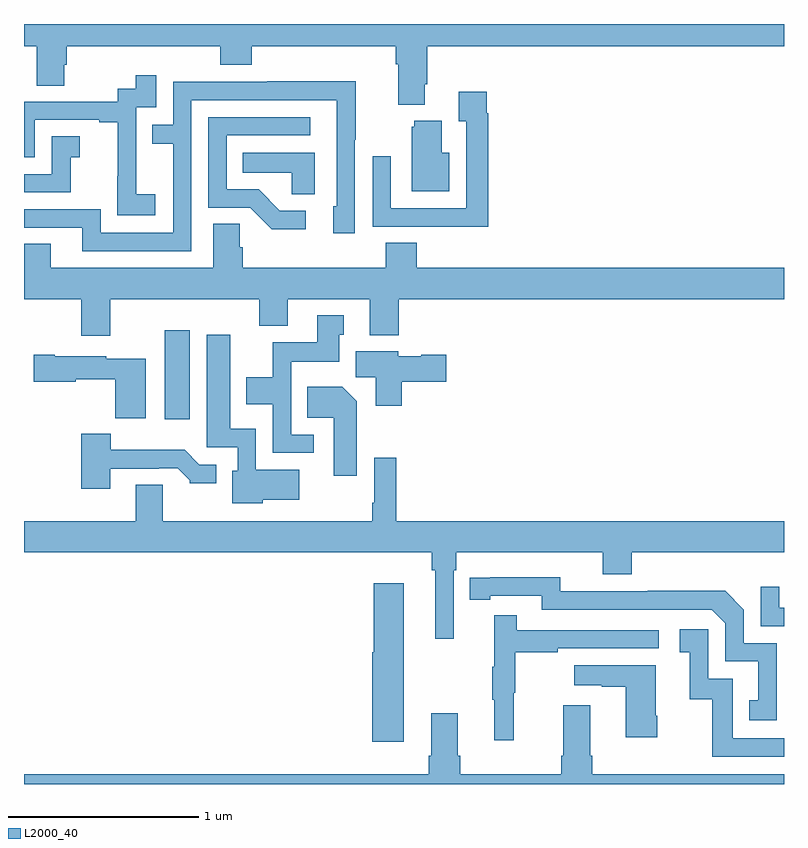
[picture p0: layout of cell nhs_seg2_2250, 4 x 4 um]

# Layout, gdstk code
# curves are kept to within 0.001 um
import gdstk
lib = gdstk.Library(unit=1e-6, precision=1e-09)
def R(c, l, rs):  # rectangles x0, y0, x1, y1
    for r in rs: c.add(gdstk.rectangle(r[:2], r[2:], *l))
def P(c, l, *ps):  # polygons
    for p in ps: c.add(gdstk.Polygon(p, *l))
L2000_40 = (2000, 40)

nhs_seg2_2250 = lib.new_cell('nhs_seg2_2250')
R(nhs_seg2_2250, L2000_40, [(229.742,597.72,229.873,598.189)])
P(nhs_seg2_2250, L2000_40, [(231.109,599.482),(231.122,599.482),(231.122,599.684),(233,599.684),(233,599.8),(229,599.8),(229,599.684),(229.066,599.684),(229.066,599.476),(229.213,599.476),(229.213,599.586),(229.226,599.586),(229.226,599.684),(230.033,599.684),(230.033,599.585),(230.198,599.585),(230.198,599.684),(230.957,599.684),(230.957,599.588),(230.969,599.588),(230.969,599.375),(231.109,599.375)],
  [(229.69,598.903),(229.592,598.903),(229.592,599.132),(229.59,599.132),(229.59,599.361),(229.695,599.361),(229.695,599.53),(229.587,599.53),(229.587,599.46),(229.494,599.46),(229.494,599.391),(229,599.391),(229,599.1),(229.056,599.1),(229.056,599.295),(229.397,599.295),(229.397,599.283),(229.493,599.283),(229.493,598.999),(229.492,598.999),(229.492,598.793),(229.69,598.793)],
  [(229.881,599.4),(230.646,599.4),(230.646,598.842),(230.627,598.842),(230.627,598.698),(230.742,598.698),(230.742,599.191),(230.745,599.191),(230.745,599.498),(230.281,599.498),(230.281,599.496),(229.785,599.496),(229.785,599.271),(229.675,599.271),(229.675,599.17),(229.785,599.17),(229.785,598.701),(229.404,598.701),(229.404,598.824),(229,598.824),(229,598.728),(229.307,598.728),(229.307,598.605),(229.881,598.605)],
  [(231.443,599.33),(231.436,599.33),(231.436,599.443),(231.287,599.443),(231.287,599.287),(231.327,599.287),(231.327,598.83),(230.931,598.83),(230.931,599.104),(230.835,599.104),(230.835,598.734),(231.151,598.734),(231.151,598.733),(231.443,598.733)],
  [(230.482,598.818),(230.347,598.818),(230.236,598.929),(230.067,598.929),(230.067,599.214),(230.506,599.214),(230.506,599.31),(229.971,599.31),(229.971,598.833),(230.19,598.833),(230.303,598.721),(230.482,598.721)],
  [(231.238,599.122),(231.199,599.122),(231.199,599.29),(231.053,599.29),(231.053,599.259),(231.041,599.259),(231.041,598.919),(231.238,598.919)],
  [(229.245,599.099),(229.294,599.099),(229.294,599.209),(229.146,599.209),(229.146,599.01),(229,599.01),(229,598.914),(229.245,598.914)],
  [(230.53,599.122),(230.152,599.122),(230.152,599.018),(230.409,599.018),(230.409,598.903),(230.53,598.903)],
  [(229.453,598.352),(230.237,598.352),(230.237,598.211),(230.389,598.211),(230.389,598.352),(230.819,598.352),(230.819,598.163),(230.972,598.163),(230.972,598.352),(233,598.352),(233,598.516),(231.068,598.516),(231.068,598.649),(230.903,598.649),(230.903,598.516),(230.15,598.516),(230.15,598.625),(230.136,598.625),(230.136,598.748),(229.997,598.748),(229.997,598.516),(229.141,598.516),(229.141,598.643),(229.002,598.643),(229.002,598.516),(229,598.516),(229,598.352),(229.301,598.352),(229.301,598.158),(229.453,598.158)],
  [(230.524,597.639),(230.406,597.639),(230.406,598.022),(230.659,598.022),(230.659,598.164),(230.683,598.164),(230.683,598.267),(230.543,598.267),(230.543,598.126),(230.308,598.126),(230.308,597.94),(230.171,597.94),(230.171,597.8),(230.31,597.8),(230.31,597.543),(230.524,597.543)],
  [(230.256,597.296),(230.449,597.296),(230.449,597.454),(230.22,597.454),(230.22,597.67),(230.086,597.67),(230.086,598.165),(229.961,598.165),(229.961,597.573),(230.124,597.573),(230.124,597.45),(230.096,597.45),(230.096,597.278),(230.256,597.278)],
  [(230.987,597.917),(231.223,597.917),(231.223,598.059),(231.09,598.059),(231.09,598.051),(230.97,598.051),(230.97,598.078),(230.747,598.078),(230.747,597.94),(230.852,597.94),(230.852,597.792),(230.987,597.792)],
  [(229.642,598.039),(229.434,598.039),(229.434,598.051),(229.162,598.051),(229.162,598.059),(229.05,598.059),(229.05,597.917),(229.272,597.917),(229.272,597.929),(229.48,597.929),(229.48,597.725),(229.642,597.725)],
  [(230.752,597.814),(230.674,597.892),(230.491,597.892),(230.491,597.728),(230.63,597.728),(230.63,597.423),(230.752,597.423)],
  [(229.453,597.459),(229.709,597.459),(229.709,597.462),(229.808,597.462),(229.872,597.398),(229.872,597.383),(230.011,597.383),(230.011,597.48),(229.923,597.48),(229.845,597.559),(229.456,597.559),(229.456,597.643),(229.301,597.643),(229.301,597.354),(229.453,597.354)],
  [(231.261,596.924),(231.275,596.924),(231.275,597.02),(232.046,597.02),(232.046,596.903),(232.199,596.903),(232.199,597.02),(233,597.02),(233,597.184),(230.96,597.184),(230.96,597.517),(230.844,597.517),(230.844,597.28),(230.832,597.28),(230.832,597.184),(229.729,597.184),(229.729,597.374),(229.589,597.374),(229.589,597.184),(229,597.184),(229,597.02),(231.145,597.02),(231.145,596.924),(231.164,596.924),(231.164,596.565),(231.261,596.565)],
  [(232.962,596.541),(232.788,596.541),(232.788,596.718),(232.69,596.816),(232.282,596.816),(232.282,596.814),(231.822,596.814),(231.822,596.887),(231.346,596.886),(231.346,596.77),(231.454,596.77),(231.454,596.79),(231.726,596.79),(231.726,596.718),(232.62,596.718),(232.692,596.646),(232.692,596.445),(232.865,596.445),(232.865,596.241),(232.816,596.241),(232.816,596.136),(232.962,596.136)],
  [(230.998,596.857),(230.84,596.857),(230.84,596.493),(230.834,596.493),(230.834,596.022),(230.998,596.022)],
  [(233,596.727),(232.975,596.727),(232.975,596.839),(232.878,596.839),(232.878,596.631),(233,596.631)],
  [(231.578,596.28),(231.586,596.28),(231.586,596.494),(231.809,596.494),(231.809,596.514),(232.342,596.514),(232.342,596.61),(231.593,596.61),(231.593,596.689),(231.476,596.689),(231.476,596.417),(231.465,596.417),(231.465,596.243),(231.476,596.243),(231.476,596.031),(231.578,596.031)],
  [(233,596.04),(232.731,596.04),(232.731,596.355),(232.602,596.355),(232.602,596.614),(232.452,596.614),(232.452,596.493),(232.505,596.493),(232.505,596.247),(232.623,596.247),(232.623,595.944),(233,595.944)],
  [(232.332,596.158),(232.324,596.158),(232.324,596.425),(231.897,596.425),(231.897,596.321),(232.04,596.321),(232.04,596.311),(232.166,596.311),(232.166,596.046),(232.332,596.046)],
  [(233,595.852),(231.992,595.852),(231.992,595.948),(231.979,595.948),(231.979,596.215),(231.839,596.215),(231.839,595.948),(231.827,595.948),(231.827,595.852),(231.296,595.852),(231.296,595.948),(231.283,595.948),(231.283,596.173),(231.143,596.173),(231.143,595.948),(231.131,595.948),(231.131,595.852),(229,595.852),(229,595.8),(233,595.8)])

lib.write_gds('nhs_seg2_2250.gds')
